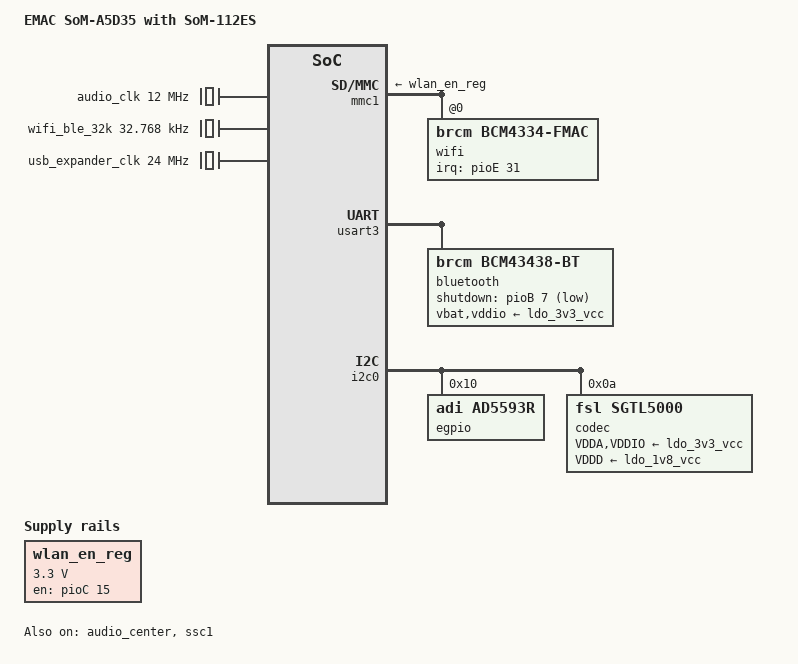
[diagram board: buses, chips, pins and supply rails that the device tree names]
// SPDX-License-Identifier: GPL-2.0-or-later
/*
 * som-a5d35-112es.dts - Device Tree file for the SOM-A5D35 w/ a 112es EMAC Carrier.
 *
 * Copyright (C) 2023 EMAC Inc.
 *
 */

/dts-v1/;
#include "som-a5d35-1xx.dts"
#include <dt-bindings/iio/adi,ad5592r.h>

/ {
	model = "EMAC SoM-A5D35 with SoM-112ES";

	clocks {
		audio_clk: oscillator@1 { 
			compatible = "fixed-clock";
			#clock-cells = <0>;
			clock-output-names = "I2S_MCLK";
			clock-frequency = <12000000>;
		};
		wifi_ble_32k: oscillator@2 { 
			compatible = "fixed-clock";
			#clock-cells = <0>;
			clock-output-names = "LPO_IN-i";
			clock-frequency = <32768>;
		};
		usb_expander_clk: oscillator@2 { 
			compatible = "fixed-clock";
			#clock-cells = <0>;
			clock-output-names = "USB2660i-XTAL1";
			clock-frequency = <24000000>;
		};
	};

	regulators {
		wlan_en_reg: wlan-en-reg@9 {
			compatible = "regulator-fixed";
			reg = <9>;
			regulator-name = "wlan-en-regulator";
			regulator-min-microvolt = <3300000>;
			regulator-max-microvolt = <3300000>;
			gpio = <&pioC 15 1>;
			regulator-always-on;
			startup-delay-us = <2000>;
			enable-active-high;
        };
	};
};

&audio_center {
	status = "okay";
	simple-audio-card,bitclock-master = <&codec_master>;
	simple-audio-card,frame-master = <&codec_master>;
	codec_master: simple-audio-card,codec {
		sound-dai = <&codec>;
	};
};

&ssc1 {
    status = "okay";
};

&mmc1 {
    /delete-node/ slot@0;
};

&mmc1 {
	vmmc-supply = <&wlan_en_reg>;
    wifi@0 {
		compatible = "brcm,bcm4334-fmac", "brcm,bcm4329-fmac";
		reg = <0>;
		interrupt-parent = <&pioE>;
		interrupts = <31 IRQ_TYPE_EDGE_FALLING>;
		interrupt-names = "host-wake";
		status = "okay";
	};
};

&usart3 {
	bluetooth {         
		compatible = "brcm,bcm43438-bt";
		clocks = <&wifi_ble_32k 1>;
		clock-names = "lpo";
		vbat-supply = <&ldo_3v3_vcc>;
		vddio-supply = <&ldo_3v3_vcc>;
		shutdown-gpios = <&pioB 7 GPIO_ACTIVE_LOW>;
	};
};

&i2c0 {
	egpio: ad5593r@10 {
		#size-cells = <0>;
		#address-cells = <1>;
		#gpio-cells = <2>;
		compatible = "adi,ad5593r";
		reg = <0x10>;
		gpio-controller;

		gpio-line-names = "HDR1-5", "HDR1-6", "HDR1-7", "HDR1-8", "HDR1-9", "HDR1-10", "HDR1-11", "HDR1-12";

		channel@0 {
			reg = <0>;
			adi,mode = <CH_MODE_GPIO>;
			adi,off-state = <CH_OFFSTATE_PULLDOWN>;
		};

		channel@1 {
			reg = <1>;
			adi,mode = <CH_MODE_GPIO>;
			adi,off-state = <CH_OFFSTATE_PULLDOWN>;
		};

		channel@2 {
			reg = <2>;
			adi,mode = <CH_MODE_GPIO>;
			adi,off-state = <CH_OFFSTATE_PULLDOWN>;
		};

		channel@3 {
			reg = <3>;
			adi,mode = <CH_MODE_GPIO>;
			adi,off-state = <CH_OFFSTATE_PULLDOWN>;
		};

		channel@4 {
			reg = <4>;
			adi,mode = <CH_MODE_GPIO>;
			adi,off-state = <CH_OFFSTATE_PULLDOWN>;
		};

		channel@5 {
			reg = <5>;
			adi,mode = <CH_MODE_GPIO>;
			adi,off-state = <CH_OFFSTATE_PULLDOWN>;
		};

		channel@6 {
			reg = <6>;
			adi,mode = <CH_MODE_GPIO>;
			adi,off-state = <CH_OFFSTATE_PULLDOWN>;
		};

		channel@7 {
			reg = <7>;
			adi,mode = <CH_MODE_GPIO>;
			adi,off-state = <CH_OFFSTATE_PULLDOWN>;
		};

	};

	codec: sgtl5000@0a {
		#sound-dai-cells = <0>;
		reg = <0x0a>;
		compatible = "fsl,sgtl5000";
		clocks = <&audio_clk>;
		VDDA-supply = <&ldo_3v3_vcc>;
		VDDIO-supply = <&ldo_3v3_vcc>;
		VDDD-supply = <&ldo_1v8_vcc>;
	};
};
